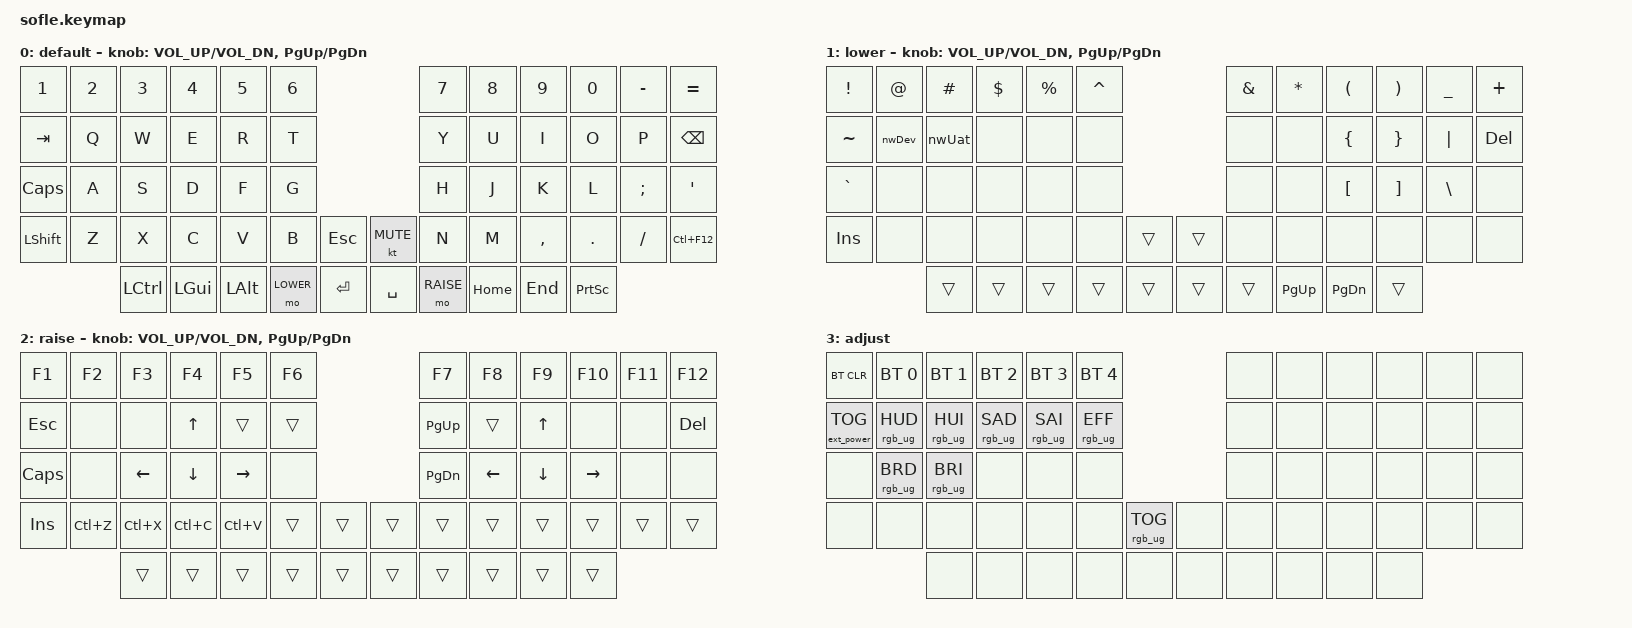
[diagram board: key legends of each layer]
/*
 * Copyright (c) 2020 The ZMK Contributors
 *
 * SPDX-License-Identifier: MIT
 */

#include <behaviors.dtsi>
#include <dt-bindings/zmk/bt.h>
#include <dt-bindings/zmk/ext_power.h>
#include <dt-bindings/zmk/keys.h>
#include <dt-bindings/zmk/keys.h>
#include <dt-bindings/zmk/rgb.h>

#define BASE 0
#define LOWER 1
#define RAISE 2
#define ADJUST 3

/ {
    // Activate ADJUST layer by pressing raise and lower

    conditional_layers {
        compatible = "zmk,conditional-layers";

        adjust_layer {
            if-layers = <LOWER RAISE>;
            then-layer = <ADJUST>;
        };
    };

    combos { compatible = "zmk,combos"; };

    macros {
        nwDev: macro1 {
            compatible = "zmk,behavior-macro";
            #binding-cells = <0>;
            bindings = <&kp LS(D) &kp E &kp V &kp N2 &kp N0 &kp AT &kp P &kp W &kp D>;
            label = "MACRO1";
        };

        nwUat: macro2 {
            compatible = "zmk,behavior-macro";
            #binding-cells = <0>;
            bindings = <&kp LC(LS(F))>;
            label = "MACRO2";
        };
    };

    behaviors {
        new_behavior: new_behavior {
            compatible = "zmk,behavior-sensor-rotate";
            label = "NEW_BEHAVIOR";
            #sensor-binding-cells = <0>;
            bindings = <&kp C_VOLUME_UP>, <&kp C_VOLUME_DOWN>;

            tap-ms = <2>;
        };
    };

    keymap {
        compatible = "zmk,keymap";

        default_layer {
            display-name = "default";

            // ------------------------------------------------------------------------------------------------------------
            // |   `   |  1  |  2  |  3   |  4   |  5   |                   |  6   |  7    |  8    |  9   |   0   |       |
            // |  ESC  |  Q  |  W  |  E   |  R   |  T   |                   |  Y   |  U    |  I    |  O   |   P   | BKSPC |
            // |  TAB  |  A  |  S  |  D   |  F   |  G   |                   |  H   |  J    |  K    |  L   |   ;   |   '   |
            // | SHIFT |  Z  |  X  |  C   |  V   |  B   |  MUTE  |  |       |  N   |  M    |  ,    |  .   |   /   | SHIFT |
            //               | GUI | ALT  | CTRL | LOWER|  ENTER |  | SPACE | RAISE| CTRL  | ALT   | GUI  |

            bindings = <
&kp NUMBER_1    &kp NUMBER_2  &kp NUMBER_3  &kp NUMBER_4  &kp NUMBER_5  &kp NUMBER_6                            &kp NUMBER_7  &kp NUMBER_8  &kp N9     &kp N0           &kp MINUS  &kp EQUAL
&kp TAB         &kp Q         &kp W         &kp E         &kp R         &kp T                                   &kp Y         &kp U         &kp I      &kp O            &kp P      &kp BACKSPACE
&kp CAPS        &kp A         &kp S         &kp D         &kp F         &kp G                                   &kp H         &kp J         &kp K      &kp L            &kp SEMI   &kp SQT
&kp LEFT_SHIFT  &kp Z         &kp X         &kp C         &kp V         &kp B         &kp ESCAPE    &kt C_MUTE  &kp N         &kp M         &kp COMMA  &kp DOT          &kp FSLH   &kp LC(F12)
                              &kp LCTRL     &kp LGUI      &kp LEFT_ALT  &mo LOWER     &kp RET       &kp SPACE   &mo RAISE     &kp HOME      &kp END    &kp PRINTSCREEN
            >;

            sensor-bindings = <&inc_dec_kp C_VOL_UP C_VOL_DN &inc_dec_kp PG_UP PG_DN>;
        };

        lower_layer {
            display-name = "lower";

            // TODO: Some binds are waiting for shifted keycode support.
            // ------------------------------------------------------------------------------------------------------------
            // |       |  F1 |  F2 |  F3  |  F4  |  F5  |                   |  F6  |  F7   |  F8   |  F9  |  F10  |  F11  |
            // |   `   |  1  |  2  |  3   |  4   |  5   |                   |  6   |  7    |  8    |  9   |   0   |  F12  |
            // |       |  !  |  @  |  #   |  $   |  %   |                   |  ^   |  &    |  *    |  (   |   )   |   |   |
            // |       |  =  |  -  |  +   |  {   |  }   |        |  |       |  [   |  ]    |  ;    |  :   |   \   |       |
            //               |     |      |      |      |        |  |       |      |       |       |      |

            bindings = <
&kp EXCLAMATION  &kp AT_SIGN  &kp HASH  &kp DOLLAR  &kp PERCENT  &kp CARET                    &kp AMPS  &kp ASTERISK  &kp LEFT_PARENTHESIS  &kp RIGHT_PARENTHESIS  &kp UNDERSCORE  &kp PLUS
&kp TILDE        &nwDev       &nwUat    &none       &none        &none                        &none     &none         &kp LEFT_BRACE        &kp RIGHT_BRACE        &kp PIPE        &kp DEL
&kp GRAVE        &none        &none     &none       &none        &none                        &none     &none         &kp LEFT_BRACKET      &kp RIGHT_BRACKET      &kp BSLH        &none
&kp INS          &none        &none     &none       &none        &none      &trans    &trans  &none     &none         &none                 &none                  &none           &none
                              &trans    &trans      &trans       &trans     &trans    &trans  &trans    &kp PAGE_UP   &kp PAGE_DOWN         &trans
            >;

            sensor-bindings = <&inc_dec_kp C_VOL_UP C_VOL_DN &inc_dec_kp PG_UP PG_DN>;
        };

        raise_layer {
            display-name = "raise";

            // ------------------------------------------------------------------------------------------------------------
            // | BTCLR | BT1  | BT2  |  BT3  |  BT4  |  BT5 |                |      |      |       |      |       |       |
            // |       | INS  | PSCR | GUI   |       |      |                | PGUP |      |   ^   |      |       |       |
            // |       | ALT  | CTRL | SHIFT |       | CAPS |                | PGDN |   <- |   v   |  ->  |  DEL  | BKSPC |
            // |       | UNDO | CUT  | COPY  | PASTE |      |      |  |      |      |      |       |      |       |       |
            //                |      |       |       |      |      |  |      |      |      |       |      |

            bindings = <
&kp F1    &kp F2     &kp F3          &kp F4          &kp F5           &kp F6                    &kp F7     &kp F8    &kp F9    &kp F10    &kp F11  &kp F12
&kp ESC   &none      &none           &kp UP          &trans           &trans                    &kp PG_UP  &trans    &kp UP    &none      &none    &kp DEL
&kp CAPS  &none      &kp LEFT_ARROW  &kp DOWN_ARROW  &kp RIGHT_ARROW  &none                     &kp PG_DN  &kp LEFT  &kp DOWN  &kp RIGHT  &none    &none
&kp INS   &kp LC(Z)  &kp LC(X)       &kp LC(C)       &kp LC(V)        &trans  &trans    &trans  &trans     &trans    &trans    &trans     &trans   &trans
                     &trans          &trans          &trans           &trans  &trans    &trans  &trans     &trans    &trans    &trans
            >;

            sensor-bindings = <&inc_dec_kp C_VOL_UP C_VOL_DN &inc_dec_kp PG_UP PG_DN>;
        };

        adjust_layer {
            // ----------------------------------------------------------------------------------------------------------------------------
            // | BTCLR  |  BT1    |  BT2    |   BT3   |   BT4   |   BT5   |                  |      |      |       |      |       |       |
            // | EXTPWR | RGB_HUD | RGB_HUI | RGB_SAD | RGB_SAI | RGB_EFF |                  |      |      |       |      |       |       |
            // |        | RGB_BRD | RGB_BRI |         |         |         |                  |      |      |       |      |       |       |
            // |        |         |         |         |         |         | RGB_TOG | |      |      |      |       |      |       |       |
            //                    |         |         |         |         |         | |      |      |      |       |      |

            display-name = "adjust";
            bindings = <
&bt BT_CLR         &bt BT_SEL 0     &bt BT_SEL 1     &bt BT_SEL 2     &bt BT_SEL 3     &bt BT_SEL 4                               &none  &none  &none  &none  &none  &none
&ext_power EP_TOG  &rgb_ug RGB_HUD  &rgb_ug RGB_HUI  &rgb_ug RGB_SAD  &rgb_ug RGB_SAI  &rgb_ug RGB_EFF                            &none  &none  &none  &none  &none  &none
&none              &rgb_ug RGB_BRD  &rgb_ug RGB_BRI  &none            &none            &none                                      &none  &none  &none  &none  &none  &none
&none              &none            &none            &none            &none            &none            &rgb_ug RGB_TOG    &none  &none  &none  &none  &none  &none  &none
                                    &none            &none            &none            &none            &none              &none  &none  &none  &none  &none
            >;
        };
    };
};
